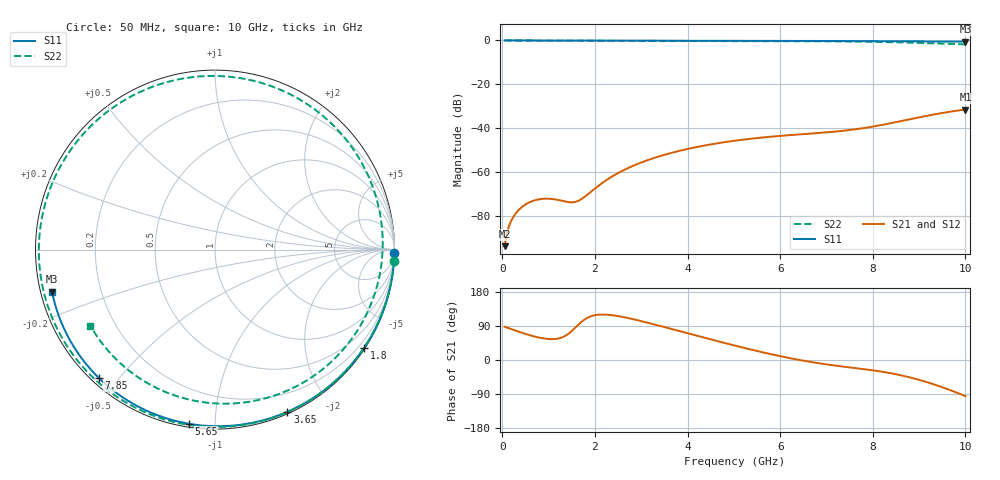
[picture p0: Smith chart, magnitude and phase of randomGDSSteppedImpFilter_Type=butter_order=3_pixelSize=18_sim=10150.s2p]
! freq	dB(S11)	phase(S11)	dB(S12)	phase(S12)
!  dB(S21)	phase(S21)	dB(S22)	phase(S22)
!S-par simulation data
#  GHz  S  DB  R 50
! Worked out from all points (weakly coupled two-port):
!   200 points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, 50 MHz to 10 GHz, reference 50 ohm
!   highest |S21| = -31.46 dB at 10 GHz (marker M1); lowest = -93.6 dB at 50 MHz (marker M2)
!   lowest |S11| = -0.6 dB at 10 GHz (marker M3), VSWR 31.26, Z = 1.63 - j6.34 ohm
!   |S11| at or under -10 dB: nowhere
!   |S22| runs from -1.8 to 0.0 dB; largest |S21 - S12| = 0
!   S11 on the Smith chart (normalised r, x): 50 MHz: open; 1.8 GHz: 0.03, -3.33; 3.65 GHz: 0.02, -1.54; 5.65 GHz: 0.02, -0.86; 7.85 GHz: 0.02, -0.44; 10 GHz: 0.03, -0.13
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0.05  -0.00 -1.0  -93.59 87.8  -93.59 87.8  -0.00 -3.6
0.25  -0.01 -4.7  -79.87 79.0  -79.87 79.0  -0.03 -17.7
0.45  -0.01 -8.5  -75.34 70.8  -75.34 70.8  -0.05 -31.5
0.9  -0.02 -16.9  -72.01 56.8  -72.01 56.8  -0.07 -61.1
1.5  -0.04 -28.0  -73.65 76.4  -73.65 76.4  -0.11 -96.0
1.75  -0.04 -32.5  -71.59 104.5  -71.59 104.5  -0.12 -109.0
1.8  -0.04 -33.4  -70.80 108.6  -70.80 108.6  -0.12 -111.5
2.6  -0.06 -47.8  -59.23 113.6  -59.23 113.6  -0.14 -147.5
3.4  -0.08 -61.7  -52.65 90.1  -52.65 90.1  -0.16 -178.4
3.65  -0.09 -66.0  -51.15 82.0  -51.15 82.0  -0.17 172.6
4.3  -0.11 -76.9  -48.06 60.8  -48.06 60.8  -0.19 149.5
5.05  -0.14 -89.1  -45.53 37.1  -45.53 37.1  -0.23 123.0
5.65  -0.17 -98.6  -44.08 19.6  -44.08 19.6  -0.27 101.0
6.2  -0.19 -107.1  -43.08 5.1  -43.08 5.1  -0.31 79.7
6.7  -0.23 -114.8  -42.30 -6.0  -42.30 -6.0  -0.36 58.9
7.35  -0.27 -124.7  -41.12 -17.2  -41.12 -17.2  -0.45 29.5
7.85  -0.31 -132.3  -39.72 -24.7  -39.72 -24.7  -0.57 4.5
8.35  -0.36 -139.8  -37.81 -34.0  -37.81 -34.0  -0.75 -23.4
8.85  -0.41 -147.5  -35.63 -47.5  -35.63 -47.5  -1.01 -55.1
9.25  -0.46 -153.7  -33.95 -61.6  -33.95 -61.6  -1.28 -84.0
9.6  -0.50 -159.1  -32.64 -76.2  -32.64 -76.2  -1.54 -112.5
10  -0.56 -165.5  -31.46 -95.3  -31.46 -95.3  -1.79 -148.6
